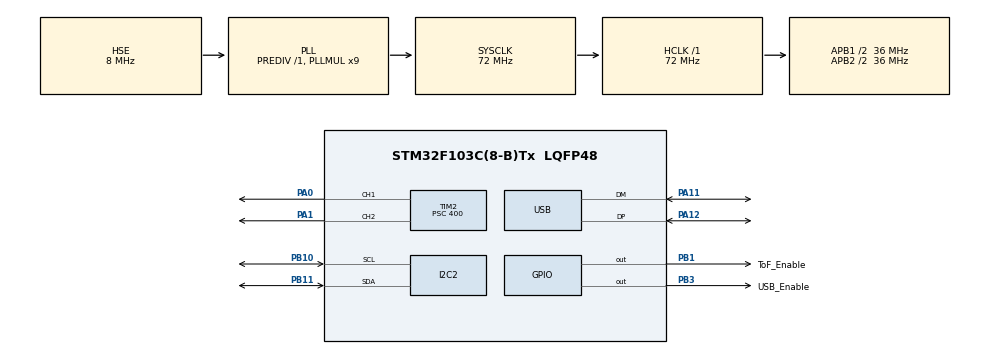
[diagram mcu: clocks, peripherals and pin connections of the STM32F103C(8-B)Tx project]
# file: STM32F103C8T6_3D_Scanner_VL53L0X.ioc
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Mcu.Family=STM32F1
Mcu.Name=STM32F103C(8-B)Tx
Mcu.Package=LQFP48
NVIC.PriorityGroup=NVIC_PRIORITYGROUP_4
NVIC.TIM3_IRQn=true\:0\:0\:false\:false\:true\:true\:true
NVIC.USB_LP_CAN1_RX0_IRQn=true\:0\:0\:false\:false\:true\:false\:true
PA0-WKUP.Signal=S_TIM2_CH1_ETR
PA1.Signal=S_TIM2_CH2
PA11.Mode=Device
PA11.Signal=USB_DM
PA12.Mode=Device
PA12.Signal=USB_DP
PA13.Mode=Serial_Wire
PA13.Signal=SYS_JTMS-SWDIO
PA14.Mode=Serial_Wire
PA14.Signal=SYS_JTCK-SWCLK
PB1.GPIO_Label=ToF_Enable
PB1.Signal=GPIO_Output
PB10.Mode=I2C
PB10.Signal=I2C2_SCL
PB11.Mode=I2C
PB11.Signal=I2C2_SDA
PB3.GPIO_Label=USB_Enable
PB3.Signal=GPIO_Output
PD0-OSC_IN.Mode=HSE-External-Oscillator
PD0-OSC_IN.Signal=RCC_OSC_IN
PD1-OSC_OUT.Mode=HSE-External-Oscillator
PD1-OSC_OUT.Signal=RCC_OSC_OUT
ProjectManager.HeapSize=0x200
ProjectManager.StackSize=0x400
ProjectManager.TargetToolchain=STM32CubeIDE
RCC.AHBFreq_Value=72000000
RCC.APB1CLKDivider=RCC_HCLK_DIV2
RCC.APB1Freq_Value=36000000
RCC.APB1TimFreq_Value=72000000
RCC.APB2CLKDivider=RCC_HCLK_DIV2
RCC.APB2Freq_Value=36000000
RCC.APB2TimFreq_Value=72000000
RCC.HCLKFreq_Value=72000000
RCC.PLLMUL=RCC_PLL_MUL9
RCC.SYSCLKFreq_VALUE=72000000
RCC.SYSCLKSource=RCC_SYSCLKSOURCE_PLLCLK
RCC.USBFreq_Value=48000000
RCC.USBPrescaler=RCC_USBCLKSOURCE_PLL_DIV1_5
SH.S_TIM2_CH1_ETR.0=TIM2_CH1,PWM Generation1 CH1
SH.S_TIM2_CH2.0=TIM2_CH2,PWM Generation2 CH2
TIM2.Channel-PWM\ Generation1\ CH1=TIM_CHANNEL_1
TIM2.Channel-PWM\ Generation2\ CH2=TIM_CHANNEL_2
TIM2.Period=3599
TIM2.Prescaler=400
TIM2.Pulse-PWM\ Generation1\ CH1=270
TIM2.Pulse-PWM\ Generation2\ CH2=445
TIM3.Period=9999
TIM3.Prescaler=7200
USB_DEVICE.CLASS_NAME_FS=CDC
USB_DEVICE.MANUFACTURER_STRING=Viktor Vano
USB_DEVICE.PRODUCT_STRING_CDC_FS=3D Scanner
USB_DEVICE.VirtualMode=Cdc
USB_DEVICE.VirtualModeFS=Cdc_FS
VP_TIM2_VS_ClockSourceINT.Mode=Internal
VP_TIM3_VS_ClockSourceINT.Mode=Internal
VP_USB_DEVICE_VS_USB_DEVICE_CDC_FS.Mode=CDC_FS
board=custom

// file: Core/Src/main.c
/* USER CODE BEGIN Header */
/**
  ******************************************************************************
  * @file           : main.c
  * @brief          : Main program body
  ******************************************************************************
  * @attention
  *
  * <h2><center>&copy; Copyright (c) 2021 STMicroelectronics.
  * All rights reserved.</center></h2>
  *
  * This software component is licensed by ST under BSD 3-Clause license,
  * the "License"; You may not use this file except in compliance with the
  * License. You may obtain a copy of the License at:
  *                        opensource.org/licenses/BSD-3-Clause
  *
  ******************************************************************************
  */
/* USER CODE END Header */
#include "main.h"
#include "usb_device.h"

/* USER CODE BEGIN Includes */
#include "myLibrary.h"
/* USER CODE END Includes */

I2C_HandleTypeDef hi2c2;

TIM_HandleTypeDef htim2;
TIM_HandleTypeDef htim3;

void SystemClock_Config(void);
static void MX_GPIO_Init(void);
static void MX_TIM2_Init(void);
static void MX_TIM3_Init(void);
static void MX_I2C2_Init(void);

int main(void)
{

  /* MCU Configuration--------------------------------------------------------*/

  /* Reset of all peripherals, Initializes the Flash interface and the Systick. */
  HAL_Init();

  /* Configure the system clock */
  SystemClock_Config();

  /* Initialize all configured peripherals */
  MX_GPIO_Init();
  MX_TIM2_Init();
  MX_USB_DEVICE_Init();
  MX_TIM3_Init();
  MX_I2C2_Init();
  /* USER CODE BEGIN 2 */
	HAL_TIM_Base_Start(&htim2);
	HAL_TIM_Base_Start_IT(&htim3);
	setPitch(pitch);
	setYaw(yaw);
	HAL_TIM_PWM_Start(&htim2, TIM_CHANNEL_1);
	HAL_TIM_PWM_Start(&htim2, TIM_CHANNEL_2);

	int model = 0, revision = 0;
	HAL_GPIO_WritePin(ToF_Enable_GPIO_Port, ToF_Enable_Pin, SET);
	while(I2C2->SR2==2)
	{
	  while(HAL_I2C_DeInit(&hi2c2) != HAL_OK);
	  while(HAL_I2C_Init(&hi2c2) != HAL_OK);
	}
	tofInit(1); // set long range mode (up to 2m)
	tofGetModel(&model, &revision);
	while(model != 238 || revision != 16)
	{
	  while(HAL_I2C_DeInit(&hi2c2) != HAL_OK);
	  while(HAL_I2C_Init(&hi2c2) != HAL_OK);
	  tofInit(1); // set long range mode (up to 2m)
	  tofGetModel(&model, &revision);
	}

	HAL_Delay(2000);
	HAL_GPIO_WritePin(USB_Enable_GPIO_Port, USB_Enable_Pin, GPIO_PIN_SET);
  /* USER CODE END 2 */

  /* Infinite loop */
  while (1)
  {

    /* USER CODE BEGIN 3 */
	  if(measureFlag == 1)
	  {
		  measureFlag = 0;
		  homingCounter = 0;
		  uint16_t distance = measureDistanceAt(pitch, yaw);
		  char message[10];
		  memset(message, 0, 10);
		  itoa(distance, (char*)&message[0], 10);
		  strcat(message, "\n");
		  CDC_Transmit_FS((uint8_t*)&message[0], strlen(message));
	  }

  }
  /* USER CODE END 3 */
}

void SystemClock_Config(void)
{
  RCC_OscInitTypeDef RCC_OscInitStruct = {0};
  RCC_ClkInitTypeDef RCC_ClkInitStruct = {0};
  RCC_PeriphCLKInitTypeDef PeriphClkInit = {0};

  /** Initializes the RCC Oscillators according to the specified parameters
  * in the RCC_OscInitTypeDef structure.
  */
  RCC_OscInitStruct.OscillatorType = RCC_OSCILLATORTYPE_HSE;
  RCC_OscInitStruct.HSEState = RCC_HSE_ON;
  RCC_OscInitStruct.HSEPredivValue = RCC_HSE_PREDIV_DIV1;
  RCC_OscInitStruct.HSIState = RCC_HSI_ON;
  RCC_OscInitStruct.PLL.PLLState = RCC_PLL_ON;
  RCC_OscInitStruct.PLL.PLLSource = RCC_PLLSOURCE_HSE;
  RCC_OscInitStruct.PLL.PLLMUL = RCC_PLL_MUL9;
  if (HAL_RCC_OscConfig(&RCC_OscInitStruct) != HAL_OK)
  {
    Error_Handler();
  }
  /** Initializes the CPU, AHB and APB buses clocks
  */
  RCC_ClkInitStruct.ClockType = RCC_CLOCKTYPE_HCLK|RCC_CLOCKTYPE_SYSCLK
                              |RCC_CLOCKTYPE_PCLK1|RCC_CLOCKTYPE_PCLK2;
  RCC_ClkInitStruct.SYSCLKSource = RCC_SYSCLKSOURCE_PLLCLK;
  RCC_ClkInitStruct.AHBCLKDivider = RCC_SYSCLK_DIV1;
  RCC_ClkInitStruct.APB1CLKDivider = RCC_HCLK_DIV2;
  RCC_ClkInitStruct.APB2CLKDivider = RCC_HCLK_DIV2;

  if (HAL_RCC_ClockConfig(&RCC_ClkInitStruct, FLASH_LATENCY_2) != HAL_OK)
  {
    Error_Handler();
  }
  PeriphClkInit.PeriphClockSelection = RCC_PERIPHCLK_USB;
  PeriphClkInit.UsbClockSelection = RCC_USBCLKSOURCE_PLL_DIV1_5;
  if (HAL_RCCEx_PeriphCLKConfig(&PeriphClkInit) != HAL_OK)
  {
    Error_Handler();
  }
}

static void MX_I2C2_Init(void)
{

  hi2c2.Instance = I2C2;
  hi2c2.Init.ClockSpeed = 100000;
  hi2c2.Init.DutyCycle = I2C_DUTYCYCLE_2;
  hi2c2.Init.OwnAddress1 = 0;
  hi2c2.Init.AddressingMode = I2C_ADDRESSINGMODE_7BIT;
  hi2c2.Init.DualAddressMode = I2C_DUALADDRESS_DISABLE;
  hi2c2.Init.OwnAddress2 = 0;
  hi2c2.Init.GeneralCallMode = I2C_GENERALCALL_DISABLE;
  hi2c2.Init.NoStretchMode = I2C_NOSTRETCH_DISABLE;
  if (HAL_I2C_Init(&hi2c2) != HAL_OK)
  {
    Error_Handler();
  }

}

static void MX_TIM2_Init(void)
{

  TIM_ClockConfigTypeDef sClockSourceConfig = {0};
  TIM_MasterConfigTypeDef sMasterConfig = {0};
  TIM_OC_InitTypeDef sConfigOC = {0};

  htim2.Instance = TIM2;
  htim2.Init.Prescaler = 400;
  htim2.Init.CounterMode = TIM_COUNTERMODE_UP;
  htim2.Init.Period = 3599;
  htim2.Init.ClockDivision = TIM_CLOCKDIVISION_DIV1;
  htim2.Init.AutoReloadPreload = TIM_AUTORELOAD_PRELOAD_DISABLE;
  if (HAL_TIM_Base_Init(&htim2) != HAL_OK)
  {
    Error_Handler();
  }
  sClockSourceConfig.ClockSource = TIM_CLOCKSOURCE_INTERNAL;
  if (HAL_TIM_ConfigClockSource(&htim2, &sClockSourceConfig) != HAL_OK)
  {
    Error_Handler();
  }
  if (HAL_TIM_PWM_Init(&htim2) != HAL_OK)
  {
    Error_Handler();
  }
  sMasterConfig.MasterOutputTrigger = TIM_TRGO_RESET;
  sMasterConfig.MasterSlaveMode = TIM_MASTERSLAVEMODE_DISABLE;
  if (HAL_TIMEx_MasterConfigSynchronization(&htim2, &sMasterConfig) != HAL_OK)
  {
    Error_Handler();
  }
  sConfigOC.OCMode = TIM_OCMODE_PWM1;
  sConfigOC.Pulse = 270;
  sConfigOC.OCPolarity = TIM_OCPOLARITY_HIGH;
  sConfigOC.OCFastMode = TIM_OCFAST_DISABLE;
  if (HAL_TIM_PWM_ConfigChannel(&htim2, &sConfigOC, TIM_CHANNEL_1) != HAL_OK)
  {
    Error_Handler();
  }
  sConfigOC.Pulse = 445;
  if (HAL_TIM_PWM_ConfigChannel(&htim2, &sConfigOC, TIM_CHANNEL_2) != HAL_OK)
  {
    Error_Handler();
  }
  HAL_TIM_MspPostInit(&htim2);

}

static void MX_TIM3_Init(void)
{

  TIM_ClockConfigTypeDef sClockSourceConfig = {0};
  TIM_MasterConfigTypeDef sMasterConfig = {0};

  htim3.Instance = TIM3;
  htim3.Init.Prescaler = 7200;
  htim3.Init.CounterMode = TIM_COUNTERMODE_UP;
  htim3.Init.Period = 9999;
  htim3.Init.ClockDivision = TIM_CLOCKDIVISION_DIV1;
  htim3.Init.AutoReloadPreload = TIM_AUTORELOAD_PRELOAD_DISABLE;
  if (HAL_TIM_Base_Init(&htim3) != HAL_OK)
  {
    Error_Handler();
  }
  sClockSourceConfig.ClockSource = TIM_CLOCKSOURCE_INTERNAL;
  if (HAL_TIM_ConfigClockSource(&htim3, &sClockSourceConfig) != HAL_OK)
  {
    Error_Handler();
  }
  sMasterConfig.MasterOutputTrigger = TIM_TRGO_RESET;
  sMasterConfig.MasterSlaveMode = TIM_MASTERSLAVEMODE_DISABLE;
  if (HAL_TIMEx_MasterConfigSynchronization(&htim3, &sMasterConfig) != HAL_OK)
  {
    Error_Handler();
  }

}

static void MX_GPIO_Init(void)
{
  GPIO_InitTypeDef GPIO_InitStruct = {0};

  /* GPIO Ports Clock Enable */
  __HAL_RCC_GPIOD_CLK_ENABLE();
  __HAL_RCC_GPIOA_CLK_ENABLE();
  __HAL_RCC_GPIOB_CLK_ENABLE();

  /*Configure GPIO pin Output Level */
  HAL_GPIO_WritePin(GPIOB, ToF_Enable_Pin|USB_Enable_Pin, GPIO_PIN_RESET);

  /*Configure GPIO pins : ToF_Enable_Pin USB_Enable_Pin */
  GPIO_InitStruct.Pin = ToF_Enable_Pin|USB_Enable_Pin;
  GPIO_InitStruct.Mode = GPIO_MODE_OUTPUT_PP;
  GPIO_InitStruct.Pull = GPIO_NOPULL;
  GPIO_InitStruct.Speed = GPIO_SPEED_FREQ_LOW;
  HAL_GPIO_Init(GPIOB, &GPIO_InitStruct);

}

void Error_Handler(void)
{
  __disable_irq();
  while (1)
  {
  }
}

/************************ (C) COPYRIGHT STMicroelectronics *****END OF FILE****/
